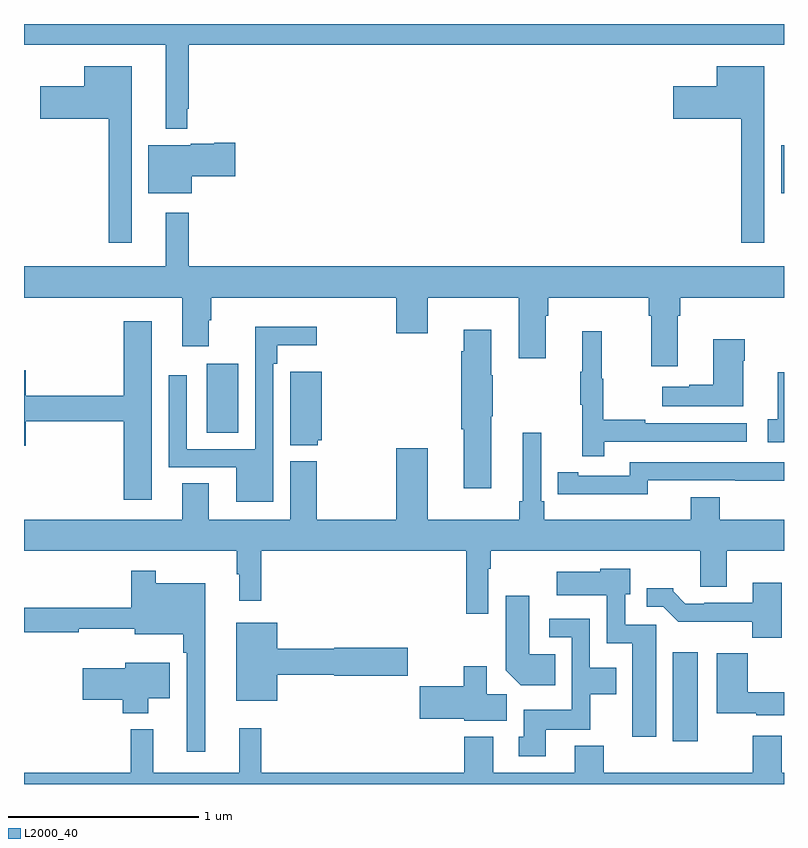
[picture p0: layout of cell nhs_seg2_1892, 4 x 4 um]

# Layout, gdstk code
import gdstk
lib = gdstk.Library(unit=1e-6, precision=1e-09)
def R(c, l, rs):  # rectangles x0, y0, x1, y1
    for r in rs: c.add(gdstk.rectangle(r[:2], r[2:], *l))
def P(c, l, *ps):  # polygons
    for p in ps: c.add(gdstk.Polygon(p, *l))
L2000_40 = (2000, 40)

nhs_seg2_1892 = lib.new_cell('nhs_seg2_1892')
R(nhs_seg2_1892, L2000_40, [(214.415,588.024,214.546,588.493), (211.961,589.648,212.128,590.011), (214.985,590.909,215,591.163)])
P(nhs_seg2_1892, L2000_40, [(211.859,591.355),(211.867,591.355),(211.867,591.692),(215,591.692),(215,591.8),(211,591.8),(211,591.692),(211.745,591.692),(211.745,591.248),(211.859,591.248)],
  [(211.567,591.577),(211.316,591.577),(211.316,591.472),(211.086,591.472),(211.086,591.302),(211.446,591.302),(211.446,590.649),(211.567,590.649)],
  [(214.897,591.577),(214.646,591.577),(214.646,591.472),(214.416,591.472),(214.416,591.302),(214.776,591.302),(214.776,590.649),(214.897,590.649)],
  [(211.882,590.998),(212.113,590.998),(212.113,591.176),(212,591.176),(212,591.169),(211.878,591.169),(211.878,591.163),(211.655,591.163),(211.655,590.909),(211.882,590.909)],
  [(214.441,590.264),(214.454,590.264),(214.454,590.36),(215,590.36),(215,590.524),(211.867,590.524),(211.867,590.806),(211.745,590.806),(211.745,590.524),(211,590.524),(211,590.36),(211.832,590.36),(211.832,590.103),(211.972,590.103),(211.972,590.24),(211.985,590.24),(211.985,590.36),(212.96,590.36),(212.96,590.172),(213.124,590.172),(213.124,590.36),(213.605,590.36),(213.605,590.04),(213.745,590.04),(213.745,590.264),(213.758,590.264),(213.758,590.36),(214.289,590.36),(214.289,590.264),(214.301,590.264),(214.301,589.998),(214.441,589.998)],
  [(211.672,590.236),(211.526,590.236),(211.526,589.844),(211.01,589.844),(211.01,589.978),(211,589.978),(211,589.579),(211.01,589.579),(211.01,589.708),(211.526,589.708),(211.526,589.296),(211.672,589.296)],
  [(212.313,590.012),(212.333,590.012),(212.333,590.108),(212.542,590.108),(212.542,590.206),(212.217,590.206),(212.217,589.563),(211.857,589.563),(211.857,589.951),(211.761,589.951),(211.761,589.467),(212.117,589.467),(212.117,589.286),(212.313,589.286)],
  [(213.46,589.735),(213.468,589.735),(213.468,589.952),(213.46,589.952),(213.46,590.191),(213.314,590.191),(213.314,590.078),(213.302,590.078),(213.302,589.668),(213.314,589.668),(213.314,589.356),(213.46,589.356)],
  [(214.055,589.602),(214.804,589.602),(214.804,589.698),(214.271,589.698),(214.271,589.718),(214.048,589.718),(214.048,589.932),(214.04,589.932),(214.04,590.182),(213.938,590.182),(213.938,589.969),(213.927,589.969),(213.927,589.795),(213.938,589.795),(213.938,589.524),(214.055,589.524)],
  [(214.786,590.027),(214.794,590.027),(214.794,590.14),(214.628,590.14),(214.628,589.901),(214.502,589.901),(214.502,589.891),(214.359,589.891),(214.359,589.787),(214.786,589.787)],
  [(212.547,589.608),(212.566,589.608),(212.566,589.969),(212.402,589.969),(212.402,589.583),(212.547,589.583)],
  [(215,589.966),(214.967,589.966),(214.967,589.719),(214.914,589.719),(214.914,589.599),(215,589.599)],
  [(214.284,589.398),(214.744,589.398),(214.744,589.397),(215,589.397),(215,589.494),(214.188,589.494),(214.188,589.422),(213.916,589.422),(213.916,589.442),(213.808,589.442),(213.808,589.326),(213.916,589.326),(213.916,589.325),(214.284,589.325)],
  [(214.508,589.309),(214.508,589.192),(213.737,589.192),(213.737,589.288),(213.723,589.288),(213.723,589.648),(213.626,589.648),(213.626,589.288),(213.607,589.288),(213.607,589.192),(213.124,589.192),(213.124,589.567),(212.96,589.567),(212.96,589.192),(212.541,589.192),(212.541,589.498),(212.402,589.498),(212.402,589.192),(211.972,589.192),(211.972,589.382),(211.832,589.382),(211.832,589.192),(211,589.192),(211,589.028),(212.121,589.028),(212.121,588.905),(212.132,588.905),(212.132,588.765),(212.249,588.765),(212.249,589.028),(213.328,589.028),(213.328,588.696),(213.444,588.696),(213.444,588.932),(213.457,588.932),(213.457,589.028),(214.559,589.028),(214.559,588.838),(214.699,588.838),(214.699,589.028),(215,589.028),(215,589.192),(214.661,589.192),(214.661,589.309)],
  [(214.327,588.639),(214.164,588.639),(214.164,588.798),(214.192,588.798),(214.192,588.934),(214.032,588.934),(214.032,588.916),(213.804,588.916),(213.804,588.794),(214.068,588.794),(214.068,588.542),(214.202,588.542),(214.202,588.048),(214.327,588.048)],
  [(211.954,588.856),(211.693,588.856),(211.693,588.922),(211.564,588.922),(211.564,588.727),(211,588.727),(211,588.598),(211.287,588.598),(211.287,588.617),(211.583,588.617),(211.583,588.587),(211.837,588.587),(211.837,588.491),(211.857,588.491),(211.857,587.97),(211.954,587.97)],
  [(214.988,588.859),(214.835,588.859),(214.835,588.753),(214.579,588.753),(214.579,588.75),(214.48,588.75),(214.416,588.814),(214.416,588.829),(214.277,588.829),(214.277,588.732),(214.365,588.732),(214.444,588.654),(214.833,588.654),(214.833,588.569),(214.988,588.569)],
  [(213.797,588.484),(213.658,588.484),(213.658,588.79),(213.536,588.79),(213.536,588.398),(213.614,588.32),(213.797,588.32)],
  [(213.745,588.086),(213.981,588.086),(213.981,588.272),(214.117,588.272),(214.117,588.412),(213.978,588.412),(213.978,588.669),(213.765,588.669),(213.765,588.573),(213.882,588.573),(213.882,588.19),(213.629,588.19),(213.629,588.048),(213.605,588.048),(213.605,587.946),(213.745,587.946)],
  [(212.332,588.376),(212.634,588.376),(212.634,588.371),(213.019,588.371),(213.019,588.518),(212.634,588.518),(212.634,588.512),(212.332,588.512),(212.332,588.649),(212.117,588.649),(212.117,588.239),(212.332,588.239)],
  [(215,588.283),(214.808,588.283),(214.808,588.487),(214.646,588.487),(214.646,588.173),(214.854,588.173),(214.854,588.161),(215,588.161)],
  [(211.654,588.251),(211.768,588.251),(211.768,588.439),(211.532,588.439),(211.532,588.409),(211.308,588.409),(211.308,588.244),(211.52,588.244),(211.52,588.173),(211.654,588.173)],
  [(213.541,588.272),(213.436,588.272),(213.436,588.421),(213.314,588.421),(213.314,588.314),(213.084,588.314),(213.084,588.143),(213.318,588.143),(213.318,588.134),(213.541,588.134)],
  [(215,587.86),(214.988,587.86),(214.988,588.055),(214.835,588.055),(214.835,587.86),(214.052,587.86),(214.052,588.001),(213.899,588.001),(213.899,587.86),(213.469,587.86),(213.469,588.049),(213.317,588.049),(213.317,587.86),(212.249,587.86),(212.249,588.094),(212.132,588.094),(212.132,587.86),(211.679,587.86),(211.679,588.088),(211.561,588.088),(211.561,587.86),(211,587.86),(211,587.8),(215,587.8)])

lib.write_gds('nhs_seg2_1892.gds')
